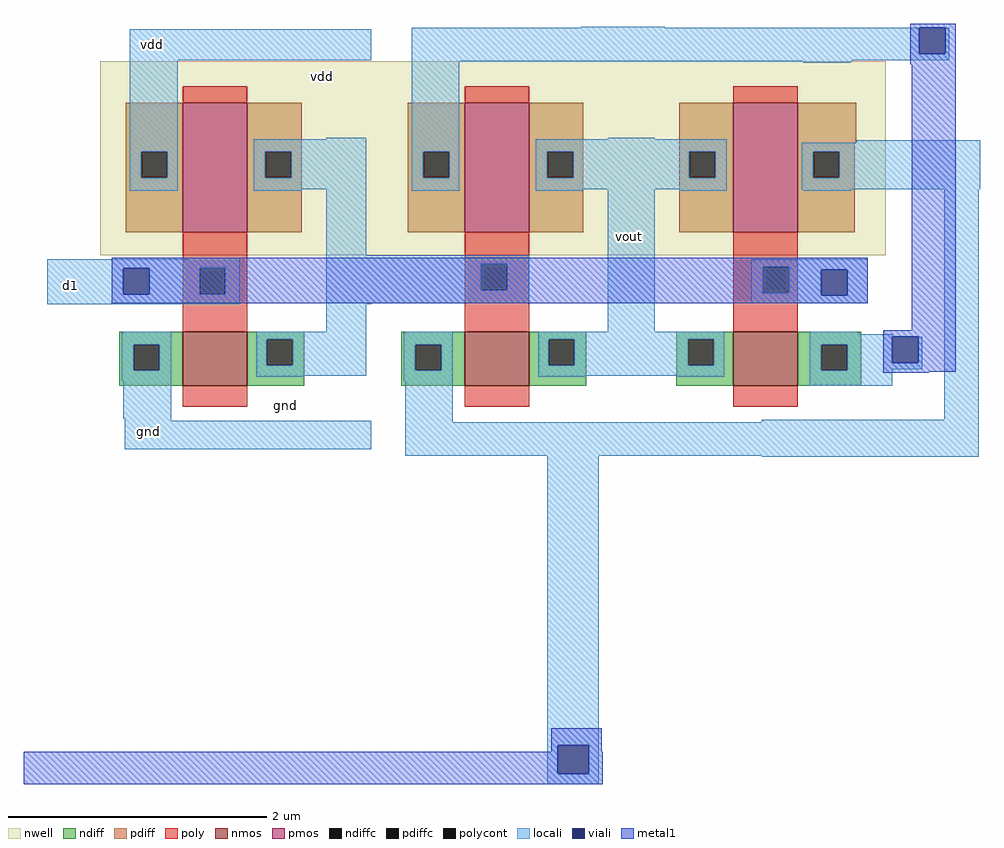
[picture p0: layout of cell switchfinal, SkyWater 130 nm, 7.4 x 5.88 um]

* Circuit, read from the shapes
.subckt switchfinal d1 gnd vdd vout
XM1 n1 d1 gnd VSUBS sky130_fd_pr__nfet_01v8 w=0.42 l=0.5
XM2 vout n1 n2 VSUBS sky130_fd_pr__nfet_01v8 w=0.42 l=0.5
XM3 n3 d1 vout VSUBS sky130_fd_pr__nfet_01v8 w=0.42 l=0.5
XM4 n1 d1 vdd vdd sky130_fd_pr__pfet_01v8 w=1 l=0.5
XM5 vout n1 n3 vdd sky130_fd_pr__pfet_01v8 w=1 l=0.5
XM6 n2 d1 vout vdd sky130_fd_pr__pfet_01v8 w=1 l=0.5
.ends

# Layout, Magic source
magic
tech sky130A
<< nwell >>
rect 1047 -185 1655 -35
<< nmos >>
rect 1111 -286 1161 -244
rect 1329 -286 1379 -244
rect 1537 -286 1587 -244
<< pmos >>
rect 1111 -167 1161 -67
rect 1329 -167 1379 -67
rect 1537 -167 1587 -67
<< ndiff >>
rect 1062 -254 1111 -244
rect 1062 -274 1073 -254
rect 1093 -274 1111 -254
rect 1062 -286 1111 -274
rect 1161 -250 1205 -244
rect 1161 -270 1176 -250
rect 1196 -270 1205 -250
rect 1161 -286 1205 -270
rect 1280 -254 1329 -244
rect 1280 -274 1291 -254
rect 1311 -274 1329 -254
rect 1280 -286 1329 -274
rect 1379 -250 1423 -244
rect 1379 -270 1394 -250
rect 1414 -270 1423 -250
rect 1379 -286 1423 -270
rect 1493 -250 1537 -244
rect 1493 -270 1502 -250
rect 1522 -270 1537 -250
rect 1493 -286 1537 -270
rect 1587 -254 1636 -244
rect 1587 -274 1605 -254
rect 1625 -274 1636 -254
rect 1587 -286 1636 -274
<< pdiff >>
rect 1067 -105 1111 -67
rect 1067 -125 1079 -105
rect 1099 -125 1111 -105
rect 1067 -167 1111 -125
rect 1161 -105 1203 -67
rect 1161 -125 1175 -105
rect 1195 -125 1203 -105
rect 1161 -167 1203 -125
rect 1285 -105 1329 -67
rect 1285 -125 1297 -105
rect 1317 -125 1329 -105
rect 1285 -167 1329 -125
rect 1379 -105 1421 -67
rect 1379 -125 1393 -105
rect 1413 -125 1421 -105
rect 1379 -167 1421 -125
rect 1495 -105 1537 -67
rect 1495 -125 1503 -105
rect 1523 -125 1537 -105
rect 1495 -167 1537 -125
rect 1587 -98 1632 -67
rect 1587 -105 1631 -98
rect 1587 -125 1599 -105
rect 1619 -125 1631 -105
rect 1587 -167 1631 -125
<< ndiffc >>
rect 1073 -274 1093 -254
rect 1176 -270 1196 -250
rect 1291 -274 1311 -254
rect 1394 -270 1414 -250
rect 1502 -270 1522 -250
rect 1605 -274 1625 -254
<< pdiffc >>
rect 1079 -125 1099 -105
rect 1175 -125 1195 -105
rect 1297 -125 1317 -105
rect 1393 -125 1413 -105
rect 1503 -125 1523 -105
rect 1599 -125 1619 -105
<< poly >>
rect 1111 -67 1161 -54
rect 1329 -67 1379 -54
rect 1537 -67 1587 -54
rect 1111 -195 1161 -167
rect 1111 -215 1124 -195
rect 1144 -215 1161 -195
rect 1111 -244 1161 -215
rect 1329 -192 1379 -167
rect 1329 -212 1342 -192
rect 1362 -212 1379 -192
rect 1329 -244 1379 -212
rect 1537 -194 1587 -167
rect 1537 -214 1560 -194
rect 1580 -214 1587 -194
rect 1537 -244 1587 -214
rect 1111 -302 1161 -286
rect 1329 -302 1379 -286
rect 1537 -302 1587 -286
<< polycont >>
rect 1124 -215 1144 -195
rect 1342 -212 1362 -192
rect 1560 -214 1580 -194
<< locali >>
rect 1419 -9 1484 -8
rect 1070 -34 1257 -10
rect 1288 -29 1681 -9
rect 1701 -29 1704 -9
rect 1288 -34 1704 -29
rect 1070 -105 1107 -34
rect 1288 -35 1629 -34
rect 1222 -95 1253 -94
rect 1070 -125 1079 -105
rect 1099 -125 1107 -105
rect 1070 -135 1107 -125
rect 1166 -105 1253 -95
rect 1166 -125 1175 -105
rect 1195 -125 1253 -105
rect 1166 -134 1253 -125
rect 1166 -135 1203 -134
rect 1222 -185 1253 -134
rect 1288 -105 1325 -35
rect 1591 -36 1628 -35
rect 1440 -95 1476 -94
rect 1288 -125 1297 -105
rect 1317 -125 1325 -105
rect 1288 -135 1325 -125
rect 1384 -105 1532 -95
rect 1632 -98 1728 -96
rect 1384 -125 1393 -105
rect 1413 -125 1503 -105
rect 1523 -125 1532 -105
rect 1384 -134 1532 -125
rect 1590 -105 1728 -98
rect 1590 -125 1599 -105
rect 1619 -125 1728 -105
rect 1590 -134 1728 -125
rect 1384 -135 1421 -134
rect 1114 -188 1155 -187
rect 1006 -195 1155 -188
rect 1006 -215 1065 -195
rect 1085 -215 1124 -195
rect 1144 -215 1155 -195
rect 1006 -223 1155 -215
rect 1222 -192 1379 -185
rect 1222 -212 1342 -192
rect 1362 -212 1379 -192
rect 1222 -222 1379 -212
rect 1222 -223 1257 -222
rect 1222 -244 1253 -223
rect 1440 -244 1476 -134
rect 1495 -135 1532 -134
rect 1591 -135 1628 -134
rect 1551 -194 1641 -188
rect 1551 -214 1560 -194
rect 1580 -196 1641 -194
rect 1580 -214 1605 -196
rect 1551 -216 1605 -214
rect 1625 -216 1641 -196
rect 1551 -222 1641 -216
rect 1065 -245 1102 -244
rect 1064 -254 1102 -245
rect 1064 -274 1073 -254
rect 1093 -274 1102 -254
rect 1064 -282 1102 -274
rect 1168 -250 1253 -244
rect 1283 -245 1320 -244
rect 1168 -270 1176 -250
rect 1196 -270 1253 -250
rect 1168 -278 1253 -270
rect 1282 -254 1320 -245
rect 1282 -274 1291 -254
rect 1311 -274 1320 -254
rect 1168 -279 1204 -278
rect 1282 -282 1320 -274
rect 1386 -250 1530 -244
rect 1386 -270 1394 -250
rect 1414 -270 1502 -250
rect 1522 -270 1530 -250
rect 1386 -278 1530 -270
rect 1386 -279 1422 -278
rect 1494 -279 1530 -278
rect 1596 -245 1633 -244
rect 1596 -246 1634 -245
rect 1596 -254 1660 -246
rect 1596 -274 1605 -254
rect 1625 -268 1660 -254
rect 1680 -268 1683 -248
rect 1625 -273 1683 -268
rect 1625 -274 1660 -273
rect 1065 -311 1102 -282
rect 1066 -313 1102 -311
rect 1066 -335 1257 -313
rect 1283 -314 1320 -282
rect 1596 -286 1660 -274
rect 1700 -312 1727 -134
rect 1559 -314 1727 -312
rect 1283 -340 1727 -314
rect 1393 -564 1433 -340
rect 1559 -341 1727 -340
rect 1393 -586 1401 -564
rect 1425 -586 1433 -564
rect 1393 -594 1433 -586
<< viali >>
rect 1681 -29 1701 -9
rect 1065 -215 1085 -195
rect 1605 -216 1625 -196
rect 1660 -268 1680 -248
rect 1401 -586 1425 -564
<< metal1 >>
rect 1674 -9 1709 -6
rect 1674 -29 1681 -9
rect 1701 -29 1709 -9
rect 1674 -37 1709 -29
rect 1056 -195 1641 -187
rect 1056 -215 1065 -195
rect 1085 -196 1641 -195
rect 1085 -215 1605 -196
rect 1056 -216 1605 -215
rect 1625 -216 1641 -196
rect 1056 -222 1641 -216
rect 1675 -243 1709 -37
rect 1653 -248 1709 -243
rect 1653 -268 1660 -248
rect 1680 -268 1709 -248
rect 1653 -275 1709 -268
rect 1653 -276 1688 -275
rect 1396 -564 1435 -551
rect 1396 -569 1401 -564
rect 988 -586 1401 -569
rect 1425 -569 1435 -564
rect 1425 -586 1436 -569
rect 988 -594 1436 -586
<< labels >>
rlabel locali 1073 -25 1102 -19 1 vdd
rlabel locali 1070 -324 1099 -318 1 gnd
rlabel space 1176 -306 1205 -297 1 gnd
rlabel nwell 1208 -48 1231 -45 1 vdd
rlabel locali 1446 -178 1468 -163 1 vout
rlabel locali 1013 -217 1035 -200 1 d1
<< end >>
